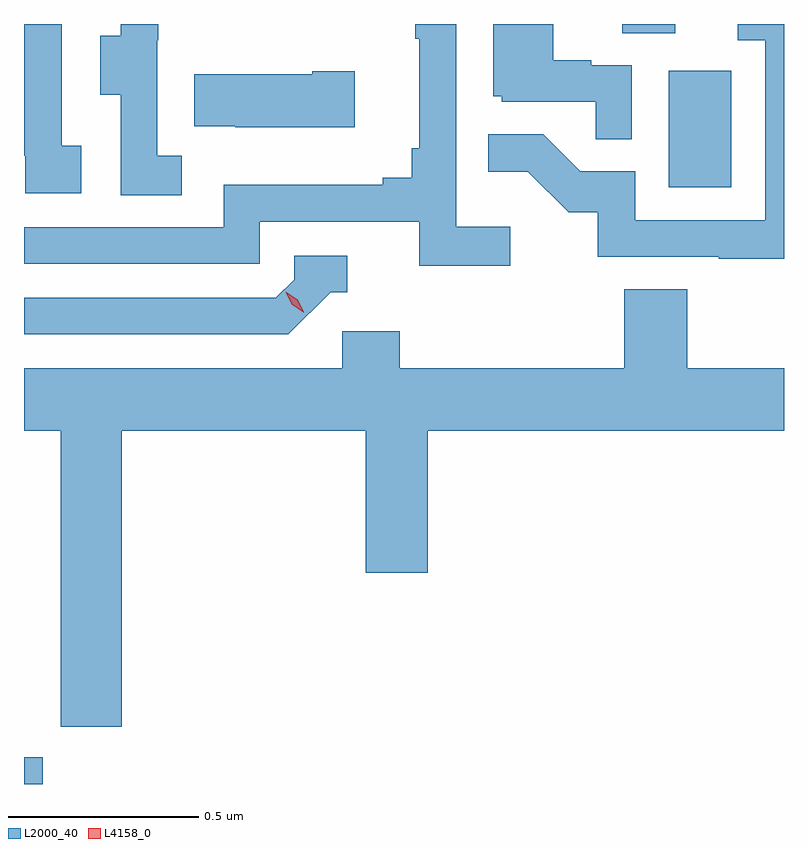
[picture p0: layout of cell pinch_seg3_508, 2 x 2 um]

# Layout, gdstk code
import gdstk
lib = gdstk.Library(unit=1e-6, precision=1e-09)
def R(c, l, rs):  # rectangles x0, y0, x1, y1
    for r in rs: c.add(gdstk.rectangle(r[:2], r[2:], *l))
def P(c, l, *ps):  # polygons
    for p in ps: c.add(gdstk.Polygon(p, *l))
L2000_40 = (2000, 40)
L4158_0 = (4158, 0)

pinch_seg3_508 = lib.new_cell('pinch_seg3_508')
R(pinch_seg3_508, L2000_40, [(991.281,670.682,991.33,670.753), (992.978,672.252,993.142,672.559), (992.855,672.658,992.995,672.682)])
P(pinch_seg3_508, L2000_40, [(992.88,672.573),(992.774,672.573),(992.774,672.586),(992.674,672.586),(992.674,672.682),(992.516,672.682),(992.516,672.492),(992.538,672.492),(992.538,672.477),(992.785,672.477),(992.785,672.379),(992.88,672.379)],
  [(991.432,672.362),(991.38,672.362),(991.38,672.682),(991.282,672.682),(991.282,672.59),(991.281,672.59),(991.281,672.335),(991.284,672.335),(991.284,672.237),(991.432,672.237)],
  [(992.56,672.148),(992.418,672.148),(992.418,672.682),(992.31,672.682),(992.31,672.643),(992.321,672.643),(992.321,672.355),(992.302,672.355),(992.302,672.278),(992.225,672.278),(992.225,672.259),(991.806,672.259),(991.806,672.147),(991.281,672.147),(991.281,672.051),(991.902,672.051),(991.902,672.162),(992.321,672.162),(992.321,672.046),(992.56,672.046)],
  [(991.696,672.335),(991.632,672.335),(991.632,672.639),(991.634,672.639),(991.634,672.682),(991.535,672.682),(991.535,672.651),(991.481,672.651),(991.481,672.496),(991.536,672.496),(991.536,672.232),(991.696,672.232)],
  [(993.281,672.682),(993.159,672.682),(993.159,672.639),(993.231,672.639),(993.231,672.165),(992.889,672.165),(992.889,672.294),(992.745,672.294),(992.647,672.392),(992.503,672.392),(992.503,672.293),(992.607,672.293),(992.714,672.186),(992.791,672.186),(992.791,672.069),(993.109,672.069),(993.109,672.064),(993.281,672.064)],
  [(992.152,672.558),(992.039,672.558),(992.039,672.55),(991.729,672.55),(991.729,672.413),(991.837,672.413),(991.837,672.41),(992.152,672.41)],
  [(992.088,671.976),(992.131,671.976),(992.131,672.072),(991.992,672.072),(991.992,672.009),(991.944,671.961),(991.281,671.961),(991.281,671.865),(991.977,671.865)],
  [(991.538,671.612),(992.18,671.612),(992.18,671.238),(992.344,671.238),(992.344,671.612),(993.281,671.612),(993.281,671.776),(993.026,671.776),(993.026,671.984),(992.861,671.984),(992.861,671.776),(992.27,671.776),(992.27,671.874),(992.118,671.874),(992.118,671.776),(991.281,671.776),(991.281,671.612),(991.378,671.612),(991.378,670.833),(991.538,670.833)])
P(pinch_seg3_508, L4158_0, [(992.016,671.924),(991.986,671.944),(991.97,671.976),(991.97,671.977),(991.97,671.977),(992.001,671.957),(992.017,671.925),(992.017,671.924)])

lib.write_gds('pinch_seg3_508.gds')
